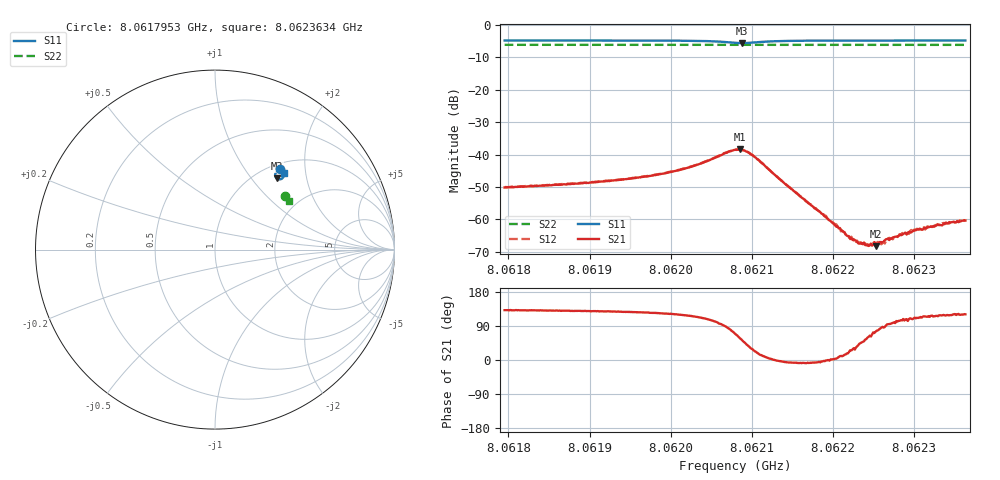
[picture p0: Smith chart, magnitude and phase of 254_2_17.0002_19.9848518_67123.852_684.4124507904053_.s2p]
#  HZ  S  RI  R  50.00
! Rohde & Schwarz Vector Network Analyzer
! Rohde-Schwarz,ZNB20-2Port,1311601062101988,3.16
! Created: UTC 3/20/2024, 11:03:24 PM
! freq[Hz]  re:S11  im:S11  re:S21  im:S21  re:S12  im:S12  re:S22  im:S22
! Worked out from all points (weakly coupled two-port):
!   401 points, 8.0617953 GHz to 8.0623634 GHz, reference 50 ohm
!   highest |S21| = -38.42 dB at 8.062085 GHz (marker M1); lowest = -68.2 dB at 8.0622526 GHz (marker M2)
!   lowest |S11| = -5.6 dB at 8.0620879 GHz (marker M3), VSWR 3.21, Z = 61.7 + j67.4 ohm
!   |S11| at or under -10 dB: nowhere
!   |S22| runs from -6.2 to -6.1 dB; largest |S21 - S12| = 0.00083
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8.06179533e9  0.3637 0.4465  -0.00206 0.00233  -0.00195 0.00247  0.3926 0.2986
8.06189048e9  0.3705 0.4403  -0.00229 0.00279  -0.00218 0.00295  0.3959 0.294
8.06193877e9  0.3745 0.4362  -0.00248 0.00324  -0.00233 0.00343  0.3976 0.2915
8.06198563e9  0.3788 0.4304  -0.00274 0.00413  -0.00253 0.0043  0.3993 0.289
8.0620254e9  0.3827 0.421  -0.00287 0.00583  -0.00254 0.00606  0.4007 0.2867
8.06207936e9  0.358 0.3911  0.00409 0.0112  0.00477 0.011  0.4008 0.2832
8.06208504e9  0.3483 0.3934  0.00627 0.0102  0.00682 0.00984  0.4005 0.2834
8.06208788e9  0.3439 0.3962  0.00707 0.00934  0.0078 0.00901  0.4005 0.2833
8.06209498e9  0.3364 0.4065  0.00856 0.00685  0.00898 0.00629  0.4005 0.2836
8.06210493e9  0.3358 0.4217  0.00835 0.00335  0.0085 0.00287  0.401 0.2838
8.06214043e9  0.3563 0.4392  0.00359 -0.000333  0.00361 -0.000554  0.4033 0.2826
8.06217451e9  0.3671 0.4385  0.0016 -0.00019  0.0016 -0.000266  0.405 0.2807
8.0622228e9  0.375 0.4351  0.000462 0.000217  0.000509 0.000182  0.4067 0.2782
8.06223132e9  0.376 0.4345  0.000332 0.00027  0.000349 0.00027  0.4071 0.2777
8.06223842e9  0.3768 0.4341  0.000286 0.000335  0.000293 0.000302  0.4073 0.2774
8.06224552e9  0.3776 0.4337  0.000176 0.000365  0.00021 0.000343  0.4075 0.277
8.06225262e9  0.3783 0.4332  0.000103 0.000373  0.000173 0.00036  0.4078 0.2766
8.06226115e9  0.3791 0.4326  1.93e-05 0.000454  5.55e-05 0.000431  0.408 0.2761
8.06226967e9  0.38 0.4321  -4.31e-05 0.000479  1.09e-05 0.00052  0.4083 0.2757
8.06230233e9  0.3827 0.43  -0.000231 0.000643  -0.000205 0.000657  0.4094 0.274
8.0623421e9  0.3857 0.4277  -0.000415 0.000776  -0.000371 0.000784  0.411 0.2719
8.0623634e9  0.3871 0.4265  -0.000491 0.000828  -0.000429 0.000886  0.4114 0.2709
